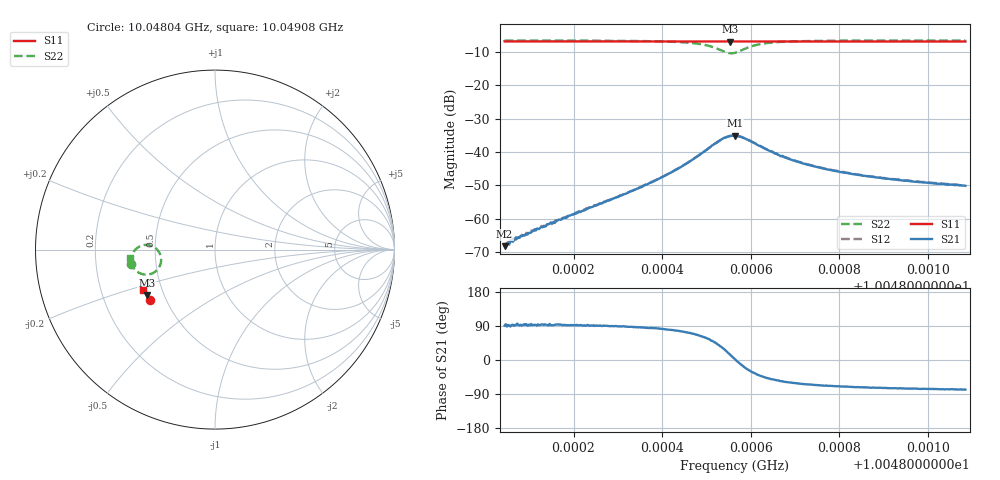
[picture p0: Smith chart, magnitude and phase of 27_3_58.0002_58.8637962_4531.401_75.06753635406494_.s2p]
#  HZ  S  RI  R  50.00
! Rohde & Schwarz Vector Network Analyzer
! Rohde-Schwarz,ZNB20-2Port,1311601062101988,3.16
! Created: UTC 3/21/2024, 12:51:26 AM
! freq[Hz]  re:S11  im:S11  re:S21  im:S21  re:S12  im:S12  re:S22  im:S22
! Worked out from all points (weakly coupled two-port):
!   401 points, 10.04804 GHz to 10.04908 GHz, reference 50 ohm
!   highest |S21| = -35.05 dB at 10.04856 GHz (marker M1); lowest = -68.3 dB at 10.04804 GHz (marker M2)
!   lowest |S11| = -6.8 dB at 10.04855 GHz (marker M3), VSWR 2.68, Z = 20.1 - j12.8 ohm
!   |S11| at or under -10 dB: nowhere
!   |S22| runs from -10.3 to -6.5 dB; largest |S21 - S12| = 0.0013
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1.0048044e10  -0.3629 -0.2818  -5.42e-06 0.000385  -5.83e-05 0.000394  -0.4669 -0.0799
1.0048076e10  -0.3642 -0.28  -2.57e-05 0.000525  -6.44e-05 0.00052  -0.4673 -0.0768
1.0048096e10  -0.365 -0.2789  -4.47e-06 0.000576  -7.11e-05 0.000594  -0.4673 -0.0746
1.0048112e10  -0.3656 -0.2782  -2.68e-05 0.000687  -7.99e-05 0.000674  -0.4674 -0.0729
1.0048164e10  -0.3676 -0.2752  -6.36e-05 0.000936  -9.1e-05 0.000943  -0.4676 -0.0669
1.0048219e10  -0.3697 -0.2723  -3.62e-05 0.0013  -0.00011 0.00129  -0.4675 -0.0599
1.0048304e10  -0.373 -0.2675  4.59e-05 0.0022  -0.000106 0.00221  -0.466 -0.0459
1.0048393e10  -0.3762 -0.2623  0.000484 0.00395  0.000295 0.00398  -0.4594 -0.0238
1.004844e10  -0.3779 -0.2597  0.0014 0.00565  0.00107 0.00575  -0.4485 -0.00542
1.0048486e10  -0.3793 -0.2566  0.00413 0.00828  0.00365 0.00856  -0.4183 0.0185
1.0048525e10  -0.3801 -0.2542  0.0107 0.00931  0.0101 0.01  -0.354 0.021
1.0048538e10  -0.38 -0.2536  0.014 0.00806  0.0132 0.00886  -0.3256 0.00338
1.0048554e10  -0.3802 -0.253  0.0171 0.00401  0.0166 0.00515  -0.3024 -0.0371
1.0048564e10  -0.3805 -0.2527  0.0177 0.000628  0.0176 0.00178  -0.3012 -0.07
1.0048577e10  -0.3811 -0.2525  0.0165 -0.00331  0.0168 -0.00212  -0.3161 -0.1057
1.0048593e10  -0.3816 -0.2519  0.0138 -0.00638  0.0144 -0.00547  -0.3463 -0.1309
1.0048629e10  -0.3835 -0.2502  0.00814 -0.00804  0.00871 -0.00752  -0.4048 -0.1368
1.0048671e10  -0.3854 -0.2479  0.00492 -0.00728  0.00531 -0.00687  -0.4365 -0.1206
1.0048739e10  -0.3879 -0.2439  0.00259 -0.00561  0.00296 -0.00553  -0.4561 -0.0979
1.0048806e10  -0.3903 -0.24  0.00169 -0.00467  0.002 -0.00461  -0.4635 -0.0828
1.0048913e10  -0.3938 -0.2336  0.00107 -0.00379  0.00132 -0.00377  -0.4686 -0.0664
1.0049084e10  -0.3992 -0.2236  0.000636 -0.00304  0.000837 -0.00306  -0.4721 -0.0474
